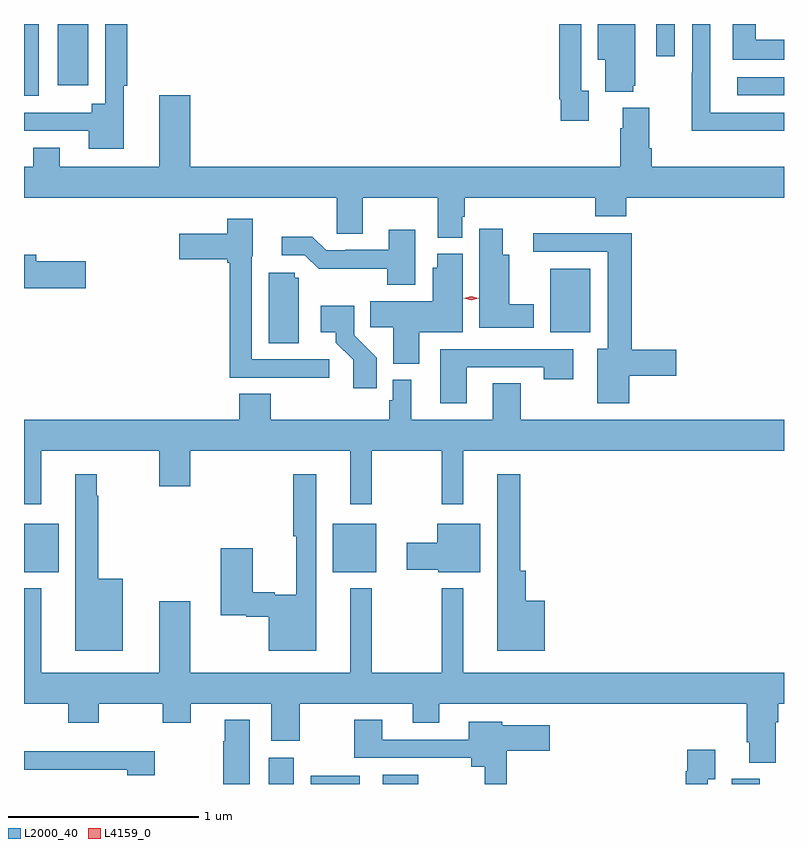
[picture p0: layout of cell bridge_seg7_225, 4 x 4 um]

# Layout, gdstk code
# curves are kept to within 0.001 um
import gdstk
lib = gdstk.Library(unit=1e-6, precision=1e-09)
def R(c, l, rs):  # rectangles x0, y0, x1, y1
    for r in rs: c.add(gdstk.rectangle(r[:2], r[2:], *l))
def P(c, l, *ps):  # polygons
    for p in ps: c.add(gdstk.Polygon(p, *l))
L2000_40 = (2000, 40)
L4159_0 = (4159, 0)

bridge_seg7_225 = lib.new_cell('bridge_seg7_225')
R(bridge_seg7_225, L2000_40, [(333.416,998.862,333.55,999.001), (333.638,998.862,333.895,998.905), (334.016,998.862,334.204,998.911), (335.855,998.862,336.002,998.89), (332.129,999.977,332.311,1000.231), (333.755,999.977,333.982,1000.231), (334.898,1001.24,335.11,1001.575), (332.129,1002.485,332.206,1002.862), (335.883,1002.486,336.129,1002.582), (332.306,1002.54,332.467,1002.862), (335.457,1002.693,335.553,1002.862)])
P(bridge_seg7_225, L2000_40, [(335.336,1002.537),(335.347,1002.537),(335.347,1002.862),(335.15,1002.862),(335.15,1002.674),(335.189,1002.674),(335.189,1002.506),(335.336,1002.506)],
  [(335.101,1002.51),(335.061,1002.51),(335.061,1002.862),(334.945,1002.862),(334.945,1002.466),(334.953,1002.466),(334.953,1002.354),(335.101,1002.354)],
  [(332.654,1002.538),(332.672,1002.538),(332.672,1002.862),(332.556,1002.862),(332.556,1002.442),(332.486,1002.442),(332.486,1002.396),(332.129,1002.396),(332.129,1002.3),(332.471,1002.3),(332.471,1002.206),(332.654,1002.206)],
  [(336.107,1002.3),(336.129,1002.3),(336.129,1002.396),(335.742,1002.396),(335.742,1002.862),(335.646,1002.862),(335.646,1002.605),(335.644,1002.605),(335.644,1002.299),(336.107,1002.299)],
  [(336.129,1002.778),(335.979,1002.778),(335.979,1002.862),(335.858,1002.862),(335.858,1002.674),(336.129,1002.674)],
  [(335.3,1001.948),(336.129,1001.948),(336.129,1002.112),(335.432,1002.112),(335.432,1002.208),(335.419,1002.208),(335.419,1002.421),(335.279,1002.421),(335.279,1002.314),(335.267,1002.314),(335.267,1002.112),(333.004,1002.112),(333.004,1002.487),(332.84,1002.487),(332.84,1002.112),(332.317,1002.112),(332.317,1002.211),(332.177,1002.211),(332.177,1002.112),(332.129,1002.112),(332.129,1001.948),(333.774,1001.948),(333.774,1001.758),(333.913,1001.758),(333.913,1001.948),(334.307,1001.948),(334.307,1001.737),(334.435,1001.737),(334.435,1001.847),(334.448,1001.847),(334.448,1001.948),(335.135,1001.948),(335.135,1001.849),(335.3,1001.849)],
  [(333.736,1001.097),(333.327,1001.097),(333.327,1001.64),(333.334,1001.64),(333.334,1001.836),(333.198,1001.836),(333.198,1001.758),(332.946,1001.758),(332.946,1001.624),(333.198,1001.624),(333.198,1001.606),(333.211,1001.606),(333.211,1001.001),(333.511,1001.001),(333.511,1000.999),(333.736,1000.999)],
  [(334.813,1001.386),(334.684,1001.386),(334.684,1001.647),(334.648,1001.647),(334.648,1001.785),(334.526,1001.785),(334.526,1001.264),(334.813,1001.264)],
  [(334.189,1001.779),(334.049,1001.779),(334.049,1001.673),(333.82,1001.673),(333.82,1001.67),(333.72,1001.67),(333.647,1001.743),(333.486,1001.743),(333.486,1001.646),(333.606,1001.646),(333.679,1001.573),(334.042,1001.574),(334.042,1001.489),(334.189,1001.489)],
  [(335.314,1001.012),(335.563,1001.012),(335.563,1001.147),(335.327,1001.147),(335.327,1001.762),(334.809,1001.762),(334.809,1001.664),(335.201,1001.664),(335.201,1001.152),(335.147,1001.152),(335.147,1000.866),(335.314,1000.866)],
  [(334.21,1001.24),(334.438,1001.24),(334.438,1001.652),(334.304,1001.652),(334.304,1001.58),(334.28,1001.58),(334.28,1001.404),(333.952,1001.404),(333.952,1001.266),(334.073,1001.266),(334.073,1001.075),(334.21,1001.075)],
  [(332.455,1001.613),(332.194,1001.613),(332.194,1001.647),(332.129,1001.647),(332.129,1001.471),(332.455,1001.471)],
  [(333.574,1001.526),(333.555,1001.526),(333.555,1001.553),(333.416,1001.553),(333.416,1001.182),(333.574,1001.182)],
  [(333.986,1001.106),(333.867,1001.225),(333.867,1001.38),(333.69,1001.38),(333.69,1001.24),(333.77,1001.24),(333.77,1001.185),(333.861,1001.095),(333.861,1000.944),(333.986,1000.944)],
  [(334.459,1001.055),(334.864,1001.055),(334.864,1000.992),(335.02,1000.992),(335.02,1001.151),(334.319,1001.151),(334.319,1000.866),(334.459,1000.866)],
  [(332.221,1000.616),(332.84,1000.616),(332.84,1000.428),(333.004,1000.428),(333.004,1000.616),(333.845,1000.616),(333.845,1000.335),(333.959,1000.335),(333.959,1000.616),(334.327,1000.616),(334.327,1000.335),(334.441,1000.335),(334.441,1000.616),(336.129,1000.616),(336.129,1000.78),(334.743,1000.78),(334.743,1000.97),(334.595,1000.97),(334.595,1000.78),(334.168,1000.78),(334.168,1000.99),(334.071,1000.99),(334.071,1000.881),(334.051,1000.881),(334.051,1000.78),(333.428,1000.78),(333.428,1000.916),(333.263,1000.916),(333.263,1000.78),(332.129,1000.78),(332.129,1000.335),(332.221,1000.335)],
  [(333.667,1000.492),(333.546,1000.492),(333.546,1000.167),(333.563,1000.167),(333.563,999.859),(333.449,999.859),(333.449,999.872),(333.334,999.872),(333.334,1000.102),(333.164,1000.102),(333.164,999.749),(333.3,999.749),(333.3,999.742),(333.416,999.742),(333.416,999.563),(333.667,999.563)],
  [(334.87,999.826),(334.769,999.826),(334.769,999.985),(334.741,999.985),(334.741,1000.492),(334.619,1000.492),(334.619,999.563),(334.87,999.563)],
  [(332.65,999.943),(332.521,999.943),(332.521,1000.379),(332.513,1000.379),(332.513,1000.492),(332.399,1000.492),(332.399,999.563),(332.65,999.563)],
  [(334.531,1000.231),(334.304,1000.231),(334.304,1000.131),(334.143,1000.131),(334.143,999.989),(334.308,999.989),(334.308,999.977),(334.531,999.977)],
  [(336.085,999.188),(336.098,999.188),(336.098,999.284),(336.129,999.284),(336.129,999.448),(334.441,999.448),(334.441,999.892),(334.327,999.892),(334.327,999.448),(333.959,999.448),(333.959,999.892),(333.845,999.892),(333.845,999.448),(333.004,999.448),(333.004,999.823),(332.84,999.823),(332.84,999.448),(332.221,999.448),(332.221,999.892),(332.129,999.892),(332.129,999.284),(332.363,999.284),(332.363,999.185),(332.523,999.185),(332.523,999.284),(332.86,999.284),(332.86,999.185),(333.007,999.185),(333.007,999.284),(333.431,999.284),(333.431,999.09),(333.579,999.09),(333.579,999.284),(334.175,999.284),(334.175,999.185),(334.315,999.185),(334.315,999.284),(335.933,999.284),(335.933,999.082),(335.945,999.082),(335.945,998.975),(336.085,998.975)],
  [(333.316,999.199),(333.185,999.199),(333.185,999.086),(333.178,999.086),(333.178,998.862),(333.316,998.862)],
  [(334.67,999.038),(334.897,999.038),(334.897,999.172),(334.647,999.172),(334.647,999.19),(334.469,999.19),(334.469,999.096),(334.015,999.096),(334.015,999.199),(333.868,999.199),(333.868,999),(334.484,999),(334.484,998.954),(334.554,998.954),(334.554,998.862),(334.67,998.862)],
  [(335.727,998.887),(335.767,998.887),(335.767,999.043),(335.619,999.043),(335.619,998.93),(335.611,998.93),(335.611,998.862),(335.727,998.862)],
  [(332.818,999.034),(332.129,999.034),(332.129,998.937),(332.673,998.937),(332.673,998.909),(332.818,998.909)])
P(bridge_seg7_225, L4159_0, [(334.482,1001.409),(334.443,1001.419),(334.443,1001.419),(334.443,1001.419),(334.483,1001.429),(334.522,1001.419),(334.522,1001.419),(334.522,1001.419)])

lib.write_gds('bridge_seg7_225.gds')
